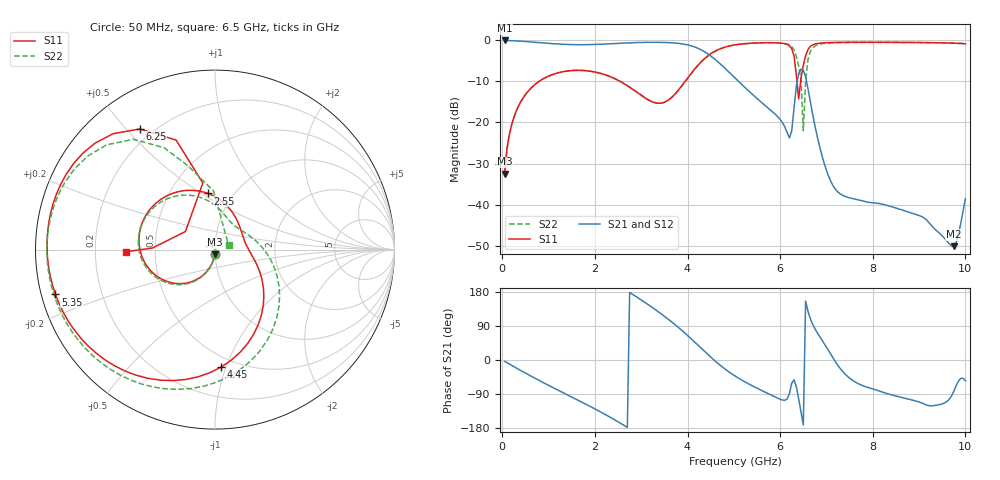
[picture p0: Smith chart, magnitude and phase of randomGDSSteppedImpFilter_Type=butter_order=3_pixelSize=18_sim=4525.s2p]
! freq	dB(S11)	phase(S11)	dB(S12)	phase(S12)
!  dB(S21)	phase(S21)	dB(S22)	phase(S22)
!S-par simulation data
#  GHz  S  DB  R 50
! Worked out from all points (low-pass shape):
!   200 points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, 50 MHz to 10 GHz, reference 50 ohm
!   highest |S21| = -0.01 dB at 50 MHz (marker M1); lowest = -50.1 dB at 9.75 GHz (marker M2)
!   |S21| within 3 dB of the highest: start of sweep to 4.402 GHz
!   lowest |S11| = -32.5 dB at 50 MHz (marker M3), VSWR 1.05, Z = 49.8 - j2.36 ohm
!   |S11| at or under -10 dB: start of sweep to 792.7 MHz; 2.547 GHz to 3.946 GHz (1.399 GHz wide, 43.1 % of centre); 6.363 GHz to 6.442 GHz (78.49 MHz wide, 1.23 % of centre)
!   |S22| runs from -32.5 to -0.5 dB; largest |S21 - S12| = 0
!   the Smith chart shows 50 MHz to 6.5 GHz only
!   S11 on the Smith chart (normalised r, x): 50 MHz: 1.00, -0.05; 2.55 GHz: 0.76, +0.53; 4.45 GHz: 0.42, -0.96; 5.35 GHz: 0.04, -0.14; 6.25 GHz: 0.15, +0.55; 6.5 GHz: 0.34, -0.01
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0.05  -32.50 -93.5  -0.01 -3.6  -0.01 -3.6  -32.50 -93.4
0.2  -20.63 -104.6  -0.06 -14.1  -0.06 -14.1  -20.62 -104.1
0.5  -13.20 -125.7  -0.26 -34.6  -0.26 -34.6  -13.20 -124.4
1.1  -8.25 -165.1  -0.80 -73.2  -0.80 -73.2  -8.25 -162.2
1.75  -7.33 153.8  -1.04 -113.1  -1.04 -113.1  -7.32 159.4
2.55  -10.02 97.3  -0.69 -166.7  -0.69 -166.7  -9.99 109.8
3.4  -15.33 18.0  -0.48 124.5  -0.48 124.5  -15.29 50.5
3.9  -10.69 -29.1  -0.86 75.8  -0.86 75.8  -10.77 -4.2
4.45  -3.67 -87.0  -3.37 13.2  -3.37 13.2  -3.71 -72.4
5.05  -1.03 -142.9  -9.42 -44.0  -9.42 -44.0  -1.05 -131.5
5.35  -0.69 -164.3  -12.63 -65.1  -12.63 -65.1  -0.70 -153.2
5.95  -0.60 156.9  -18.62 -100.9  -18.62 -100.9  -0.61 167.8
6.25  -2.03 121.9  -22.08 -61.2  -22.08 -61.2  -1.51 136.1
6.4  -14.29 148.5  -8.06 -102.8  -8.06 -102.8  -6.17 108.0
6.45  -9.14 178.6  -6.99 -136.9  -6.99 -136.9  -9.73 91.3
6.5  -6.08 -178.6  -7.22 -171.3  -7.22 -171.3  -21.99 18.4
6.6  -2.24 171.2  -11.71 128.9  -11.71 128.9  -4.75 -139.4
6.7  -1.09 157.6  -17.93 94.5  -17.93 94.5  -1.84 -168.7
7.2  -0.49 124.3  -36.36 -5.8  -36.36 -5.8  -0.55 146.8
8.35  -0.46 73.3  -40.33 -90.1  -40.33 -90.1  -0.48 98.0
9.75  -0.67 6.6  -50.14 -82.4  -50.14 -82.4  -0.64 35.8
10  -0.81 -7.1  -38.59 -54.7  -38.59 -54.7  -0.76 22.6
